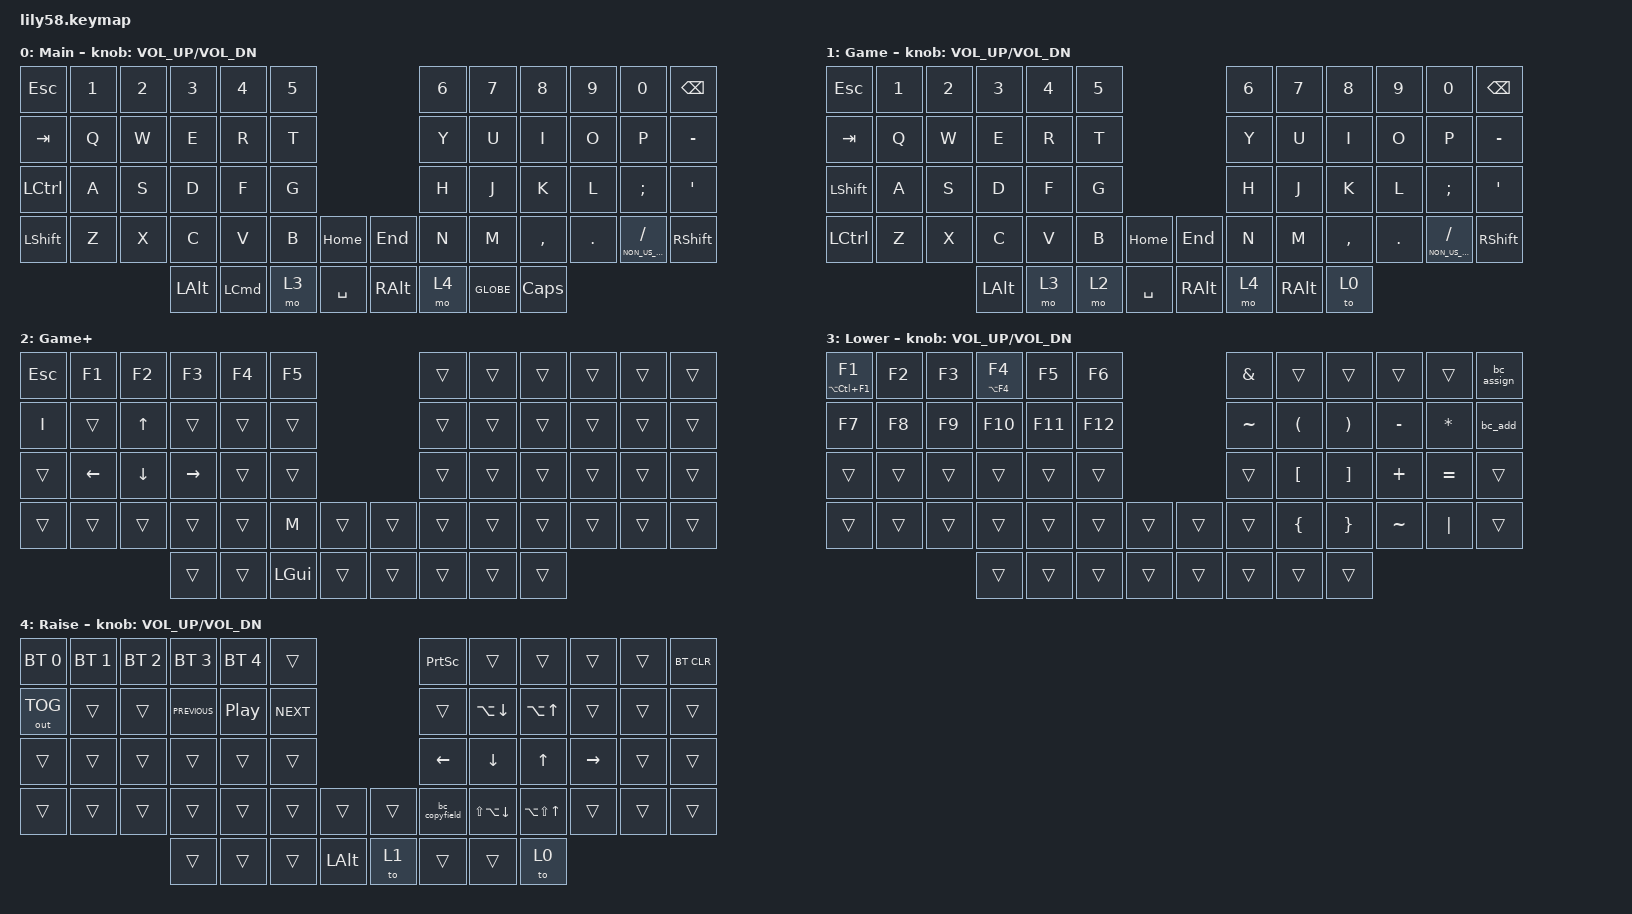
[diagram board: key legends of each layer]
/*
 * Copyright (c) 2020 The ZMK Contributors
 *
 * SPDX-License-Identifier: MIT
 */

#include <behaviors.dtsi>
#include <dt-bindings/zmk/bt.h>
#include <dt-bindings/zmk/keys.h>
#include <dt-bindings/zmk/outputs.h>

&mt {
    require-prior-idle-ms = <200>;
    flavor = "balanced";
    tapping-term-ms = <300>;
    hold-trigger-on-release;
};

/ {
    macros {
        bc_assign: bc_assign {
            compatible = "zmk,behavior-macro";
            #binding-cells = <0>;
            bindings = <&kp SPACE &kp COLON &kp EQUAL &kp SPACE>;
            label = "BC_ASSIGN";
        };

        bc_add: bc_add {
            compatible = "zmk,behavior-macro";
            #binding-cells = <0>;
            bindings = <&kp SPACE &kp PLUS &kp EQUAL &kp SPACE>;
            label = "BC_ADD";
        };

        bc_copyfield: bc_copyfield {
            compatible = "zmk,behavior-macro";
            #binding-cells = <0>;
            bindings = <&kp DOWN_ARROW &kp F8>;
            label = "BC_COPYFIELD";
        };
    };

    combos {
        compatible = "zmk,combos";

        combo_returnleft {
            bindings = <&kp RETURN>;
            key-positions = <26 27 28>;
            require-prior-idle-ms = <50>;
        };

        combo_returnright {
            bindings = <&kp RETURN>;
            key-positions = <31 32 33>;
            require-prior-idle-ms = <50>;
        };

        combo_delete {
            bindings = <&kp DEL>;
            key-positions = <42 43>;
            layers = <0>;
            require-prior-idle-ms = <50>;
        };

        combo_copy {
            bindings = <&kp LG(C)>;
            key-positions = <38 39>;
            layers = <0>;
        };

        combo_paste {
            bindings = <&kp LG(V)>;
            key-positions = <39 40>;
            layers = <0>;
        };

        combo_cut {
            bindings = <&kp LG(X)>;
            key-positions = <37 38>;
            layers = <0>;
        };

        caps {
            bindings = <&kp CAPSLOCK>;
            key-positions = <36 49>;
        };

        cut-win {
            bindings = <&kp LC(X)>;
            key-positions = <37 38>;
        };

        copy-win {
            bindings = <&kp LC(C)>;
            key-positions = <38 39>;
        };

        paste-win {
            bindings = <&kp LC(V)>;
            key-positions = <40 39>;
        };
    };

    keymap {
        compatible = "zmk,keymap";

        Main {
            // ------------------------------------------------------------------------------------------------------------
            // |  ESC  |  1  |  2  |  3   |  4   |  5   |                   |  6   |  7    |  8    |  9   |   0   |   `   |
            // |  TAB  |  Q  |  W  |  E   |  R   |  T   |                   |  Y   |  U    |  I    |  O   |   P   |   -   |
            // |  CTRL |  A  |  S  |  D   |  F   |  G   |                   |  H   |  J    |  K    |  L   |   ;   |   '   |
            // | SHIFT |  Z  |  X  |  C   |  V   |  B   |   "["  |  |  "]"  |  N   |  M    |  ,    |  .   |   /   | SHIFT |
            //                     | ALT  | GUI  | LOWER|  SPACE |  | ENTER | RAISE| BSPC  | GUI   |

            display-name = "Main";
            bindings = <
&kp ESC    &kp N1  &kp N2  &kp N3    &kp N4    &kp N5                              &kp N6  &kp N7     &kp N8        &kp N9   &kp N0                      &kp BACKSPACE
&kp TAB    &kp Q   &kp W   &kp E     &kp R     &kp T                               &kp Y   &kp U      &kp I         &kp O    &kp P                       &kp MINUS
&kp LCTRL  &kp A   &kp S   &kp D     &kp F     &kp G                               &kp H   &kp J      &kp K         &kp L    &kp SEMI                    &kp SQT
&kp LSHFT  &kp Z   &kp X   &kp C     &kp V     &kp B   &kp HOME     &kp END        &kp N   &kp M      &kp COMMA     &kp DOT  &mt NON_US_BACKSLASH SLASH  &kp RSHFT
                           &kp LALT  &kp LCMD  &mo 3   &kp SPACE    &kp RIGHT_ALT  &mo 4   &kp GLOBE  &kp CAPSLOCK
            >;

            sensor-bindings = <&inc_dec_kp C_VOL_UP C_VOL_DN>;
            label = "Main";
        };

        game {
            display-name = "Game";
            bindings = <
&kp ESC           &kp N1  &kp N2  &kp N3    &kp N4  &kp N5                              &kp N6  &kp N7    &kp N8     &kp N9   &kp N0                      &kp BSPC
&kp TAB           &kp Q   &kp W   &kp E     &kp R   &kp T                               &kp Y   &kp U     &kp I      &kp O    &kp P                       &kp MINUS
&kp LEFT_SHIFT    &kp A   &kp S   &kp D     &kp F   &kp G                               &kp H   &kp J     &kp K      &kp L    &kp SEMI                    &kp SQT
&kp LEFT_CONTROL  &kp Z   &kp X   &kp C     &kp V   &kp B   &kp HOME     &kp END        &kp N   &kp M     &kp COMMA  &kp DOT  &mt NON_US_BACKSLASH SLASH  &kp RSHFT
                                  &kp LALT  &mo 3   &mo 2   &kp SPACE    &kp RIGHT_ALT  &mo 4   &kp RALT  &to 0
            >;

            sensor-bindings = <&inc_dec_kp C_VOL_UP C_VOL_DN>;
        };

        game+ {
            bindings = <
&kp ESC  &kp F1    &kp F2    &kp F3     &kp F4  &kp F5                      &trans  &trans  &trans  &trans  &trans  &trans
&kp I    &trans    &kp UP    &trans     &trans  &trans                      &trans  &trans  &trans  &trans  &trans  &trans
&trans   &kp LEFT  &kp DOWN  &kp RIGHT  &trans  &trans                      &trans  &trans  &trans  &trans  &trans  &trans
&trans   &trans    &trans    &trans     &trans  &kp M     &trans    &trans  &trans  &trans  &trans  &trans  &trans  &trans
                             &trans     &trans  &kp LGUI  &trans    &trans  &trans  &trans  &trans
            >;

            label = "Game+";
        };

        lower_layer {
            // ------------------------------------------------------------------------------------------------------------
            // | BTCLR | BT1 | BT2 |  BT3 |  BT4 |  BT5 |                   |      |       |       |      |       |       |
            // |  F1   |  F2 |  F3 |  F4  |  F5  |  F6  |                   |  F7  |  F8   |  F9   |  F10 |  F11  |  F12  |
            // |   `   |  !  |  @  |  #   |  $   |  %   |                   |  ^   |  &    |  *    |  (   |   )   |   ~   |
            // |       |     |     |      |      |      |        |  |       |      |  _    |  +    |  {   |   }   |  "|"  |
            //                     |      |      |      |        |  |       |      |       |       |

            display-name = "Lower";
            bindings = <
&mt LA(LC(F1)) F1  &kp F2  &kp F3  &mt LA(F4) F4  &kp F5   &kp F6                     &kp AMPERSAND  &trans                &trans                 &trans     &trans     &bc_assign
&kp F7             &kp F8  &kp F9  &kp F10        &kp F11  &kp F12                    &kp TILDE      &kp LEFT_PARENTHESIS  &kp RIGHT_PARENTHESIS  &kp MINUS  &kp STAR   &bc_add
&trans             &trans  &trans  &trans         &trans   &trans                     &trans         &kp LEFT_BRACKET      &kp RIGHT_BRACKET      &kp PLUS   &kp EQUAL  &trans
&trans             &trans  &trans  &trans         &trans   &trans   &trans    &trans  &trans         &kp LEFT_BRACE        &kp RIGHT_BRACE        &kp TILDE  &kp PIPE   &trans
                                   &trans         &trans   &trans   &trans    &trans  &trans         &trans                &trans
            >;

            sensor-bindings = <&inc_dec_kp C_VOL_UP C_VOL_DN>;
            label = "Lower";
        };

        raise_layer {
            // ------------------------------------------------------------------------------------------------------------
            // |       |     |     |      |      |      |                   |      |       |       |      |       |       |
            // |   `   |  1  |  2  |  3   |  4   |  5   |                   |  6   |   7   |   8   |  9   |   0   |       |
            // |   F1  |  F2 |  F3 |  F4  |  F5  |  F6  |                   |      |   <-  |   v   |  ^   |  ->   |       |
            // |   F7  |  F8 |  F9 |  F10 |  F11 |  F12 |        |  |       |  +   |   -   |   =   |  [   |   ]   |   \   |
            //                     |      |      |      |        |  |       |      |       |       |

            display-name = "Raise";
            bindings = <
&bt BT_SEL 0  &bt BT_SEL 1  &bt BT_SEL 2  &bt BT_SEL 3    &bt BT_SEL 4      &trans                              &kp PSCRN      &trans            &trans                &trans     &trans  &bt BT_CLR
&out OUT_TOG  &trans        &trans        &kp C_PREVIOUS  &kp C_PLAY_PAUSE  &kp C_NEXT                          &trans         &kp LA(DOWN)      &kp LA(UP_ARROW)      &trans     &trans  &trans
&trans        &trans        &trans        &trans          &trans            &trans                              &kp LEFT       &kp DOWN          &kp UP                &kp RIGHT  &trans  &trans
&trans        &trans        &trans        &trans          &trans            &trans      &trans          &trans  &bc_copyfield  &kp LS(LA(DOWN))  &kp LA(LS(UP_ARROW))  &trans     &trans  &trans
                                          &trans          &trans            &trans      &kp LEFT_ALT    &to 1   &trans         &trans            &to 0
            >;

            sensor-bindings = <&inc_dec_kp C_VOL_UP C_VOL_DN>;
            label = "Raise";
        };
    };
};
